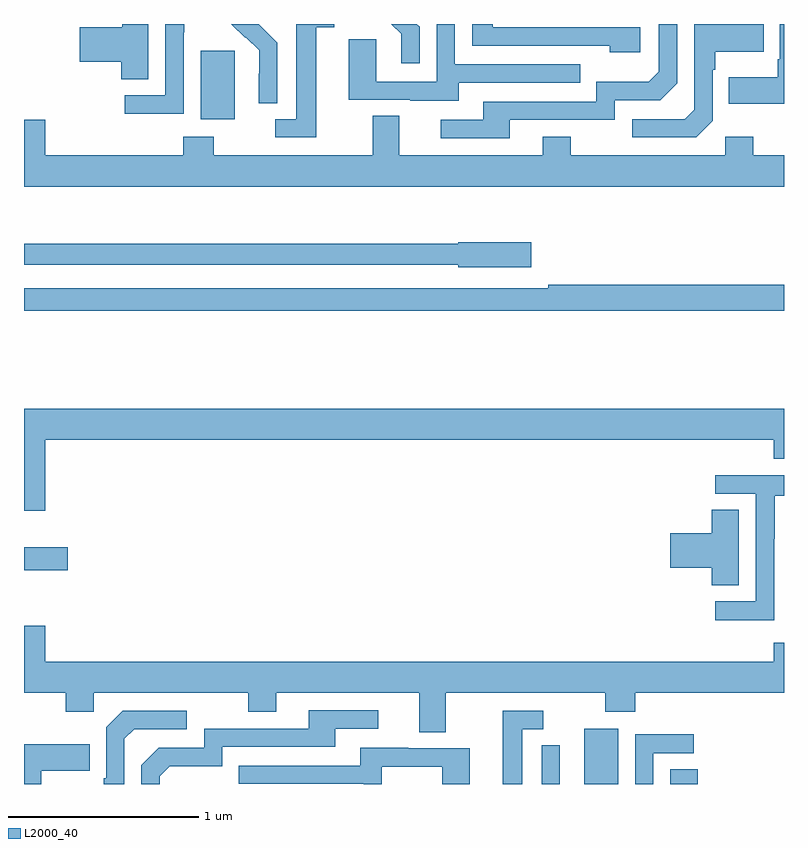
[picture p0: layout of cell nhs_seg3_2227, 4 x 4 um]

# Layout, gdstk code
import gdstk
lib = gdstk.Library(unit=1e-6, precision=1e-09)
def R(c, l, rs):  # rectangles x0, y0, x1, y1
    for r in rs: c.add(gdstk.rectangle(r[:2], r[2:], *l))
def P(c, l, *ps):  # polygons
    for p in ps: c.add(gdstk.Polygon(p, *l))
L2000_40 = (2000, 40)

nhs_seg3_2227 = lib.new_cell('nhs_seg3_2227')
R(nhs_seg3_2227, L2000_40, [(227.948,736.4,228.127,736.69), (228.401,736.4,228.545,736.478), (225,737.525,225.229,737.647), (225.929,739.898,226.108,740.259)])
P(nhs_seg3_2227, L2000_40, [(225.655,740.4),(225.517,740.4),(225.517,740.384),(225.294,740.384),(225.294,740.201),(225.512,740.201),(225.512,740.11),(225.655,740.11)],
  [(228.244,740.382),(227.467,740.382),(227.467,740.4),(227.358,740.4),(227.358,740.286),(228.083,740.286),(228.083,740.252),(228.244,740.252)],
  [(226.332,740.302),(226.259,740.375),(226.26,740.376),(226.236,740.4),(226.092,740.4),(226.164,740.328),(226.167,740.331),(226.238,740.261),(226.238,740.138),(226.236,740.138),(226.236,739.984),(226.332,739.984)],
  [(225.84,740.356),(225.843,740.356),(225.843,740.4),(225.744,740.4),(225.744,740.025),(225.531,740.025),(225.531,739.927),(225.84,739.927)],
  [(227.557,739.896),(228.108,739.896),(228.108,739.998),(228.348,739.998),(228.438,740.088),(228.438,740.4),(228.342,740.4),(228.342,740.148),(228.289,740.095),(228.012,740.095),(228.012,739.992),(227.417,739.992),(227.417,739.896),(227.193,739.896),(227.193,739.8),(227.557,739.8)],
  [(226.537,740.384),(226.633,740.384),(226.633,740.4),(226.433,740.4),(226.433,739.899),(226.323,739.899),(226.323,739.803),(226.537,739.803)],
  [(227.082,740.386),(227.068,740.4),(226.934,740.4),(226.985,740.349),(226.985,740.193),(227.082,740.193)],
  [(227.287,740.091),(227.927,740.091),(227.927,740.187),(227.268,740.187),(227.268,740.4),(227.172,740.4),(227.172,740.097),(226.854,740.097),(226.854,740.321),(226.709,740.321),(226.709,740.001),(227.033,740.001),(227.033,739.997),(227.287,739.997)],
  [(229,740.4),(228.978,740.4),(228.978,740.215),(228.966,740.215),(228.966,740.119),(228.709,740.119),(228.709,739.979),(229,739.979)],
  [(228.624,739.89),(228.624,740.159),(228.637,740.159),(228.637,740.255),(228.893,740.255),(228.893,740.4),(228.528,740.4),(228.528,739.95),(228.477,739.899),(228.201,739.899),(228.201,739.803),(228.537,739.803)],
  [(229,739.708),(228.837,739.708),(228.837,739.807),(228.69,739.807),(228.69,739.708),(227.877,739.708),(227.877,739.807),(227.729,739.807),(227.729,739.708),(226.975,739.708),(226.975,739.916),(226.835,739.916),(226.835,739.708),(225.999,739.708),(225.999,739.807),(225.839,739.807),(225.839,739.708),(225.112,739.708),(225.112,739.897),(225,739.897),(225,739.544),(229,739.544)],
  [(227.671,739.251),(227.286,739.251),(227.286,739.243),(225,739.243),(225,739.134),(227.286,739.134),(227.286,739.121),(227.671,739.121)],
  [(229,739.028),(227.758,739.028),(227.758,739.008),(225,739.008),(225,738.892),(229,738.892)],
  [(225.112,738.212),(228.947,738.212),(228.947,738.113),(229,738.113),(229,738.376),(225,738.376),(225,737.838),(225.112,737.838)],
  [(228.948,737.692),(228.951,737.692),(228.951,737.916),(229,737.916),(229,738.024),(228.639,738.024),(228.639,737.928),(228.852,737.928),(228.852,737.361),(228.639,737.361),(228.639,737.263),(228.948,737.263)],
  [(228.763,737.843),(228.62,737.843),(228.62,737.72),(228.402,737.72),(228.402,737.537),(228.62,737.537),(228.62,737.446),(228.763,737.446)],
  [(227.221,736.88),(228.058,736.88),(228.058,736.781),(228.218,736.781),(228.218,736.88),(229,736.88),(229,737.143),(228.947,737.143),(228.947,737.044),(225.112,737.044),(225.112,737.233),(225,737.233),(225,736.88),(225.22,736.88),(225.22,736.781),(225.366,736.781),(225.366,736.88),(226.18,736.88),(226.18,736.781),(226.327,736.781),(226.327,736.88),(227.081,736.88),(227.081,736.672),(227.221,736.672)],
  [(225.714,736.44),(225.767,736.493),(226.044,736.493),(226.044,736.596),(226.639,736.596),(226.639,736.692),(226.864,736.692),(226.864,736.788),(226.499,736.788),(226.499,736.692),(225.948,736.692),(225.948,736.59),(225.708,736.59),(225.618,736.5),(225.618,736.4),(225.714,736.4)],
  [(225.528,736.638),(225.579,736.689),(225.856,736.689),(225.856,736.785),(225.519,736.785),(225.432,736.698),(225.432,736.429),(225.42,736.429),(225.42,736.4),(225.528,736.4)],
  [(227.623,736.689),(227.734,736.689),(227.734,736.785),(227.519,736.785),(227.519,736.4),(227.623,736.4)],
  [(228.312,736.563),(228.526,736.563),(228.526,736.662),(228.216,736.662),(228.216,736.4),(228.312,736.4)],
  [(225.091,736.469),(225.347,736.469),(225.347,736.609),(225,736.609),(225,736.4),(225.091,736.4)],
  [(227.819,736.45),(227.82,736.45),(227.82,736.604),(227.724,736.604),(227.724,736.4),(227.819,736.4)],
  [(226.884,736.491),(227.202,736.491),(227.202,736.4),(227.347,736.4),(227.347,736.587),(227.023,736.587),(227.023,736.591),(226.769,736.591),(226.769,736.497),(226.129,736.497),(226.129,736.401),(226.788,736.401),(226.788,736.4),(226.884,736.4)])

lib.write_gds('nhs_seg3_2227.gds')
